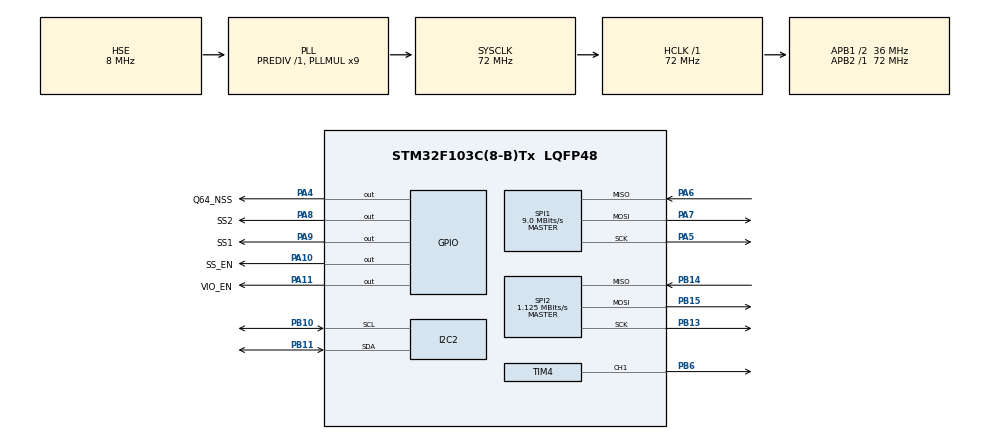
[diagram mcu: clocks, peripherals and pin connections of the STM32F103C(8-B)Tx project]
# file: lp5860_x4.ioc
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Mcu.Family=STM32F1
Mcu.Name=STM32F103C(8-B)Tx
Mcu.Package=LQFP48
NVIC.PriorityGroup=NVIC_PRIORITYGROUP_4
NVIC.TIM2_IRQn=true\:15\:0\:true\:false\:true\:true\:true\:true
PA10.GPIO_Label=SS_EN
PA10.PinState=GPIO_PIN_SET
PA10.Signal=GPIO_Output
PA11.GPIO_Label=VIO_EN
PA11.Signal=GPIO_Output
PA13.Mode=Serial_Wire
PA13.Signal=SYS_JTMS-SWDIO
PA14.Mode=Serial_Wire
PA14.Signal=SYS_JTCK-SWCLK
PA4.GPIO_Label=Q64_NSS
PA4.Signal=GPIO_Output
PA5.Mode=Full_Duplex_Master
PA5.Signal=SPI1_SCK
PA6.Mode=Full_Duplex_Master
PA6.Signal=SPI1_MISO
PA7.Mode=Full_Duplex_Master
PA7.Signal=SPI1_MOSI
PA8.GPIO_Label=SS2
PA8.Signal=GPIO_Output
PA9.GPIO_Label=SS1
PA9.Signal=GPIO_Output
PB10.Mode=I2C
PB10.Signal=I2C2_SCL
PB11.Mode=I2C
PB11.Signal=I2C2_SDA
PB13.Mode=Full_Duplex_Master
PB13.Signal=SPI2_SCK
PB14.Mode=Full_Duplex_Master
PB14.Signal=SPI2_MISO
PB15.Mode=Full_Duplex_Master
PB15.Signal=SPI2_MOSI
PB6.Signal=S_TIM4_CH1
PD0-OSC_IN.Mode=HSE-External-Oscillator
PD0-OSC_IN.Signal=RCC_OSC_IN
PD1-OSC_OUT.Mode=HSE-External-Oscillator
PD1-OSC_OUT.Signal=RCC_OSC_OUT
ProjectManager.HeapSize=0x200
ProjectManager.StackSize=0x400
ProjectManager.TargetToolchain=MDK-ARM V5.32
RCC.AHBFreq_Value=72000000
RCC.APB1CLKDivider=RCC_HCLK_DIV2
RCC.APB1Freq_Value=36000000
RCC.APB1TimFreq_Value=72000000
RCC.APB2Freq_Value=72000000
RCC.APB2TimFreq_Value=72000000
RCC.HCLKFreq_Value=72000000
RCC.PLLMUL=RCC_PLL_MUL9
RCC.PLLSourceVirtual=RCC_PLLSOURCE_HSE
RCC.SYSCLKFreq_VALUE=72000000
RCC.SYSCLKSource=RCC_SYSCLKSOURCE_PLLCLK
RCC.USBFreq_Value=72000000
SH.S_TIM4_CH1.0=TIM4_CH1,PWM Generation1 CH1
SPI1.BaudRatePrescaler=SPI_BAUDRATEPRESCALER_8
SPI1.CalculateBaudRate=9.0 MBits/s
SPI1.Direction=SPI_DIRECTION_2LINES
SPI1.Mode=SPI_MODE_MASTER
SPI1.VirtualType=VM_MASTER
SPI2.BaudRatePrescaler=SPI_BAUDRATEPRESCALER_32
SPI2.CLKPolarity=SPI_POLARITY_LOW
SPI2.CalculateBaudRate=1.125 MBits/s
SPI2.DataSize=SPI_DATASIZE_8BIT
SPI2.Direction=SPI_DIRECTION_2LINES
SPI2.Mode=SPI_MODE_MASTER
SPI2.VirtualType=VM_MASTER
TIM2.AutoReloadPreload=TIM_AUTORELOAD_PRELOAD_ENABLE
TIM2.CounterMode=TIM_COUNTERMODE_DOWN
TIM2.Period=2400-1
TIM2.Prescaler=1000
TIM4.AutoReloadPreload=TIM_AUTORELOAD_PRELOAD_ENABLE
TIM4.Channel-PWM\ Generation1\ CH1=TIM_CHANNEL_1
TIM4.OCPolarity_1=TIM_OCPOLARITY_LOW
TIM4.Period=250-1
TIM4.Prescaler=72-1
VP_TIM2_VS_ClockSourceINT.Mode=Internal
board=custom

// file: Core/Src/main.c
/* USER CODE BEGIN Header */
/**
  ******************************************************************************
  * @file           : main.c
  * @brief          : Main program body
  ******************************************************************************
  * @attention
  *
  * Copyright (c) 2024 STMicroelectronics.
  * All rights reserved.
  *
  * This software is licensed under terms that can be found in the LICENSE file
  * in the root directory of this software component.
  * If no LICENSE file comes with this software, it is provided AS-IS.
  *
  ******************************************************************************
  */
/* USER CODE END Header */
#include "main.h"
#include "i2c.h"
#include "spi.h"
#include "tim.h"
#include "gpio.h"

/* USER CODE BEGIN Includes */
#include "oled.h"
#include "lp5860_x4.h"
#include "q64.h"
#include "test_video.h"
/* USER CODE END Includes */

/* USER CODE BEGIN PD */
static uint8_t value = 0;
#define MAIN_CLEAR_FLAG(flag) do{value &= ~(flag);}while(0);
#define MAIN_SET_FLAG(flag) do{value |= (flag);}while(0);
#define MAIN_GET_FLAG(flag) (value & (flag))

#define MAIN_FLAG_TIM2_30HZ (0x1)
/* USER CODE END PD */

void SystemClock_Config(void);

/* USER CODE BEGIN 0 */
void HAL_TIM_PeriodElapsedCallback(TIM_HandleTypeDef *htim)
{
    if(htim->Instance == TIM2){
			MAIN_SET_FLAG(MAIN_FLAG_TIM2_30HZ)
    }
}
/* USER CODE END 0 */

int main(void)
{

  /* MCU Configuration--------------------------------------------------------*/

  /* Reset of all peripherals, Initializes the Flash interface and the Systick. */
  HAL_Init();

  /* Configure the system clock */
  SystemClock_Config();

  /* Initialize all configured peripherals */
  MX_GPIO_Init();
  MX_I2C2_Init();
  MX_SPI2_Init();
  MX_TIM4_Init();
  MX_SPI1_Init();
  MX_TIM2_Init();
  /* USER CODE BEGIN 2 */
	OLED_Init();
	LP5860_x4_Init(&hspi2);

	HAL_TIM_Base_Start_IT(&htim2);
	HAL_TIM_PWM_Start(&htim4,TIM_CHANNEL_1);
	__HAL_TIM_SetCompare(&htim4, TIM_CHANNEL_1, 30);

  /* USER CODE END 2 */

  /* Infinite loop */
  /* USER CODE BEGIN WHILE */
	//OLED_Raw_Draw_String(0,0,"hello!",6);
	uint32_t frame_count = 0;
	char str[16] = {0};
	//read_frame_data(0);
	//W25Q64_Read(&hspi1,0,&i,1);
	//Lp5860_Write(&hspi2,i,LP5860_x4_REG_PWM_BRI(0),0x80);
  while (1)
  {
		if(MAIN_GET_FLAG(MAIN_FLAG_TIM2_30HZ)){
			frame_count = (frame_count + 1)%TEST_VIDEO_FRAME_COUNT;
			//while (HAL_SPI_GetState(&hspi1) != HAL_SPI_STATE_READY){}
			read_frame_data(frame_count);
			play_test_video(frame_count);
			MAIN_CLEAR_FLAG(MAIN_FLAG_TIM2_30HZ)
			OLED_PRINT(0,0,str,16,"%d!",frame_count)
		}

		//
		//read_frame_data(frame_count);
		//OLED_PRINT(0,0,str,16,"%d!",first_frame_data())
		//play_test_video(frame_count);
		//HAL_Delay(20);
    /* USER CODE END WHILE */

  }
}

void SystemClock_Config(void)
{
  RCC_OscInitTypeDef RCC_OscInitStruct = {0};
  RCC_ClkInitTypeDef RCC_ClkInitStruct = {0};

  /** Initializes the RCC Oscillators according to the specified parameters
  * in the RCC_OscInitTypeDef structure.
  */
  RCC_OscInitStruct.OscillatorType = RCC_OSCILLATORTYPE_HSE;
  RCC_OscInitStruct.HSEState = RCC_HSE_ON;
  RCC_OscInitStruct.HSEPredivValue = RCC_HSE_PREDIV_DIV1;
  RCC_OscInitStruct.HSIState = RCC_HSI_ON;
  RCC_OscInitStruct.PLL.PLLState = RCC_PLL_ON;
  RCC_OscInitStruct.PLL.PLLSource = RCC_PLLSOURCE_HSE;
  RCC_OscInitStruct.PLL.PLLMUL = RCC_PLL_MUL9;
  if (HAL_RCC_OscConfig(&RCC_OscInitStruct) != HAL_OK)
  {
    Error_Handler();
  }

  /** Initializes the CPU, AHB and APB buses clocks
  */
  RCC_ClkInitStruct.ClockType = RCC_CLOCKTYPE_HCLK|RCC_CLOCKTYPE_SYSCLK
                              |RCC_CLOCKTYPE_PCLK1|RCC_CLOCKTYPE_PCLK2;
  RCC_ClkInitStruct.SYSCLKSource = RCC_SYSCLKSOURCE_PLLCLK;
  RCC_ClkInitStruct.AHBCLKDivider = RCC_SYSCLK_DIV1;
  RCC_ClkInitStruct.APB1CLKDivider = RCC_HCLK_DIV2;
  RCC_ClkInitStruct.APB2CLKDivider = RCC_HCLK_DIV1;

  if (HAL_RCC_ClockConfig(&RCC_ClkInitStruct, FLASH_LATENCY_2) != HAL_OK)
  {
    Error_Handler();
  }
}

void Error_Handler(void)
{
  __disable_irq();
  while (1)
  {
  }
}
